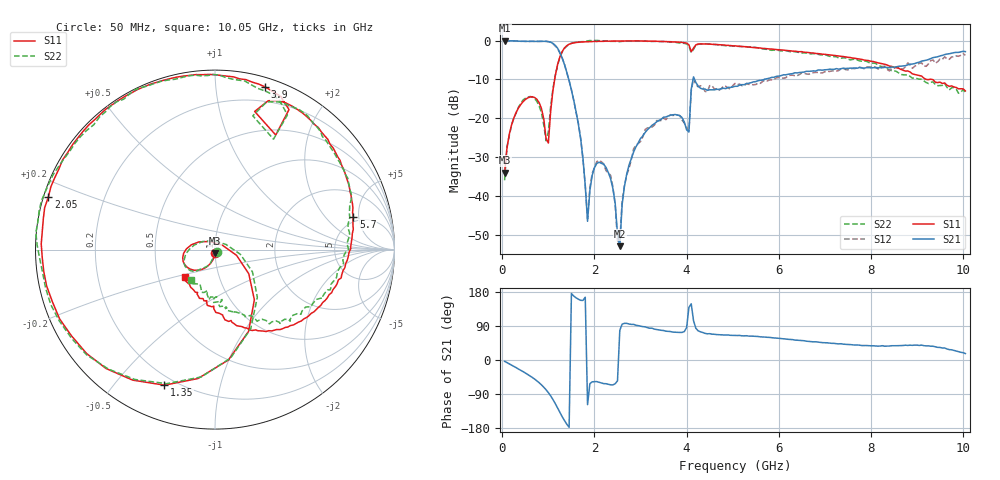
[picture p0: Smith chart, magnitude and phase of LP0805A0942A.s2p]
! AVX THIN FILM OPERATION
! 0805 Size Low Pass Filter P/N  LP0805A0942AWTR
! Network Analyzer HP8720ES.07.64: Feb 23, 2000 Serial No. US39172382
! Hewlett-Packard
!  2 Feb 2003  02:46:30
! Frequency  S11  S21  S12  S22
# HZ  S  DB R  50
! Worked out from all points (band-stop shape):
!   201 points, 50 MHz to 10.05 GHz, reference 50 ohm
!   highest |S21| = -0.01 dB at 50 MHz (marker M1); lowest = -52.9 dB at 2.55 GHz (marker M2)
!   |S21| within 3 dB of the highest: start of sweep to 1.246 GHz; 9.91 GHz to end of sweep
!   lowest |S11| = -33.9 dB at 50 MHz (marker M3), VSWR 1.04, Z = 50 - j2.01 ohm
!   |S11| at or under -10 dB: start of sweep to 1.136 GHz; 9.203 GHz to 9.267 GHz (63.87 MHz wide, 0.692 % of centre); 9.325 GHz to end of sweep
!   |S22| runs from -35.9 to 0.0 dB; largest |S21 - S12| = 0.15
!   S11 on the Smith chart (normalised r, x): 50 MHz: 1.00, -0.04; 1.35 GHz: 0.16, -0.68; 2.05 GHz: 0.01, +0.15; 3.9 GHz: 0.07, +1.35; 5.7 GHz: 4.35, +4.25; 10.05 GHz: 0.68, -0.22
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5e7  -33.95 -87.5  -0.01 -3.6  -0.01 -3.7  -35.94 -47.2
2e8  -21.71 -108.3  -0.02 -13.6  -0.06 -13.4  -21.83 -108.9
4.5e8  -15.70 -135.4  -0.18 -30.6  -0.16 -30.8  -15.30 -135.2
8e8  -15.98 178.3  -0.21 -60.0  -0.18 -60.3  -16.85 179.8
1e9  -26.35 29.9  -0.27 -86.2  -0.26 -86.1  -23.43 25.5
1.15e9  -8.99 -51.9  -1.22 -115.2  -1.43 -114.5  -8.99 -48.4
1.35e9  -1.87 -110.5  -6.20 -159.9  -6.07 -160.7  -2.00 -109.8
1.75e9  -0.34 -172.7  -30.25 157.2  -30.54 155.9  -0.28 -172.2
1.85e9  -0.28 178.1  -46.49 -117.8  -45.82 -117.0  -0.07 178.5
2.05e9  -0.23 162.6  -31.61 -57.0  -31.14 -57.2  0.04 164.3
2.35e9  -0.13 143.6  -35.52 -65.4  -34.68 -64.7  -0.20 145.8
2.55e9  -0.12 132.9  -52.89 78.3  -51.73 83.2  -0.27 134.1
2.75e9  -0.09 122.9  -32.02 95.0  -32.87 92.8  -0.09 123.7
3.4e9  -0.20 94.2  -20.52 79.4  -20.62 74.4  -0.25 94.7
3.9e9  -0.46 72.9  -19.80 72.8  -20.43 70.3  -0.66 72.6
4.05e9  -1.09 62.1  -23.52 138.7  -23.21 132.9  -1.39 61.7
4.15e9  -1.93 74.0  -9.32 103.7  -9.78 101.6  -2.22 74.2
5.05e9  -1.35 35.5  -11.75 64.9  -11.03 62.2  -1.43 35.0
5.7e9  -2.03 13.3  -9.89 60.5  -10.16 57.0  -2.22 14.9
6.75e9  -3.19 -20.3  -7.79 48.0  -8.24 47.7  -3.36 -18.2
8.4e9  -6.55 -68.1  -6.96 36.8  -7.79 31.4  -7.60 -61.5
1.005e10  -12.95 -138.3  -2.83 17.0  -3.78 13.7  -13.38 -127.9
